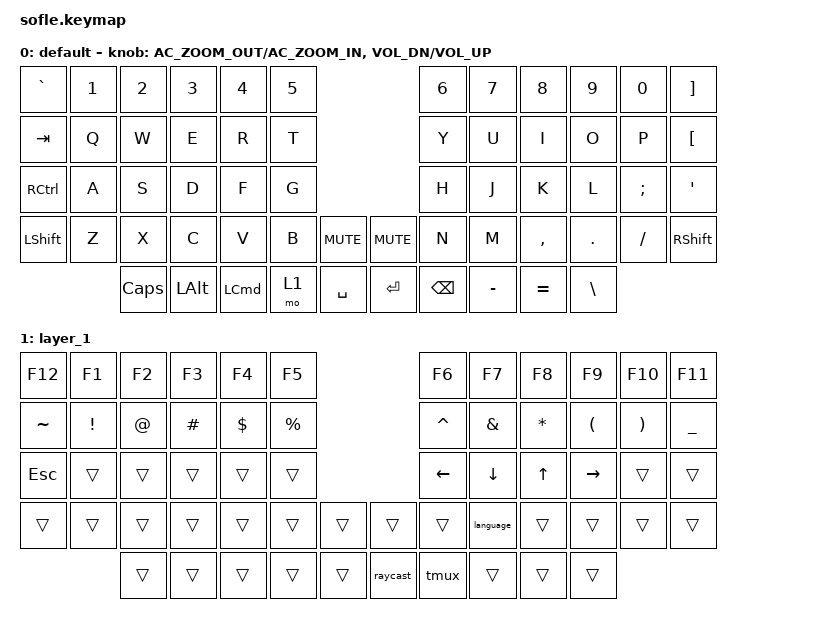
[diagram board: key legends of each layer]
/*
 * Copyright (c) 2020 The ZMK Contributors
 *
 * SPDX-License-Identifier: MIT
 */

#include <behaviors.dtsi>
#include <dt-bindings/zmk/keys.h>

#define BASE 0
#define LOWER 1
#define RAISE 2
#define ADJUST 3

/ {
    // Activate ADJUST layer by pressing raise and lower

    conditional_layers {
        compatible = "zmk,conditional-layers";

        adjust_layer {
            if-layers = <1 2>;
            then-layer = <3>;
        };
    };

    macros {
        language: language {
            compatible = "zmk,behavior-macro";
            #binding-cells = <0>;
            bindings =
                <&macro_press>,
                <&kp RCTRL>,
                <&macro_press>,
                <&kp LEFT_ALT>,
                <&macro_press>,
                <&kp SPACE>,
                <&macro_release>,
                <&kp RCTRL>,
                <&macro_release>,
                <&kp LEFT_ALT>,
                <&macro_release>,
                <&kp SPACE>;

            label = "LANGUAGE";
        };

        tmux: tmux {
            compatible = "zmk,behavior-macro";
            #binding-cells = <0>;
            bindings =
                <&macro_press>,
                <&kp RCTRL>,
                <&macro_press>,
                <&kp SPACE>,
                <&macro_release>,
                <&kp RCTRL>,
                <&macro_release>,
                <&kp SPACE>;

            label = "TMUX";
        };

        raycast: raycast {
            compatible = "zmk,behavior-macro";
            #binding-cells = <0>;
            bindings =
                <&macro_press>,
                <&kp LEFT_COMMAND>,
                <&macro_press>,
                <&kp SPACE>,
                <&macro_release>,
                <&kp LEFT_COMMAND>,
                <&macro_release>,
                <&kp SPACE>;

            label = "RAYCAST";
        };
    };

    keymap {
        compatible = "zmk,keymap";

        default_layer {
            label = "default";

            // ------------------------------------------------------------------------------------------------------------
            // |   `   |  1  |  2  |  3   |  4   |  5   |                   |  6   |  7    |  8    |  9   |   0   |       |
            // |  ESC  |  Q  |  W  |  E   |  R   |  T   |                   |  Y   |  U    |  I    |  O   |   P   | BKSPC |
            // |  TAB  |  A  |  S  |  D   |  F   |  G   |                   |  H   |  J    |  K    |  L   |   ;   |   '   |
            // | SHIFT |  Z  |  X  |  C   |  V   |  B   |  MUTE  |  |       |  N   |  M    |  ,    |  .   |   /   | SHIFT |
            //               | GUI | ALT  | CTRL | LOWER|  ENTER |  | SPACE | RAISE| CTRL  | ALT   | GUI  |

            bindings = <
&kp GRAVE  &kp N1  &kp N2    &kp N3        &kp N4            &kp N5                            &kp N6         &kp N7     &kp N8     &kp N9         &kp N0    &kp RIGHT_BRACKET
&kp TAB    &kp Q   &kp W     &kp E         &kp R             &kp T                             &kp Y          &kp U      &kp I      &kp O          &kp P     &kp LEFT_BRACKET
&kp RCTRL  &kp A   &kp S     &kp D         &kp F             &kp G                             &kp H          &kp J      &kp K      &kp L          &kp SEMI  &kp SQT
&kp LSHFT  &kp Z   &kp X     &kp C         &kp V             &kp B   &kp C_MUTE    &kp C_MUTE  &kp N          &kp M      &kp COMMA  &kp DOT        &kp FSLH  &kp RSHFT
                   &kp CAPS  &kp LEFT_ALT  &kp LEFT_COMMAND  &mo 1   &kp SPACE     &kp RET     &kp BACKSPACE  &kp MINUS  &kp EQUAL  &kp BACKSLASH
            >;

            sensor-bindings =
                <&inc_dec_kp C_AC_ZOOM_OUT C_AC_ZOOM_IN>,
                <&inc_dec_kp C_VOL_DN C_VOL_UP>;
        };

        layer_1 {
            bindings = <
&kp F12    &kp F1           &kp F2       &kp F3    &kp F4      &kp F5                           &kp F6     &kp F7         &kp F8        &kp F9                &kp F10                &kp F11
&kp TILDE  &kp EXCLAMATION  &kp AT_SIGN  &kp HASH  &kp DOLLAR  &kp PERCENT                      &kp CARET  &kp AMPERSAND  &kp ASTERISK  &kp LEFT_PARENTHESIS  &kp RIGHT_PARENTHESIS  &kp UNDERSCORE
&kp ESC    &trans           &trans       &trans    &trans      &trans                           &kp LEFT   &kp DOWN       &kp UP_ARROW  &kp RIGHT             &trans                 &trans
&trans     &trans           &trans       &trans    &trans      &trans       &trans    &trans    &trans     &language      &trans        &trans                &trans                 &trans
                            &trans       &trans    &trans      &trans       &trans    &raycast  &tmux      &trans         &trans        &trans
            >;
        };
    };
};
